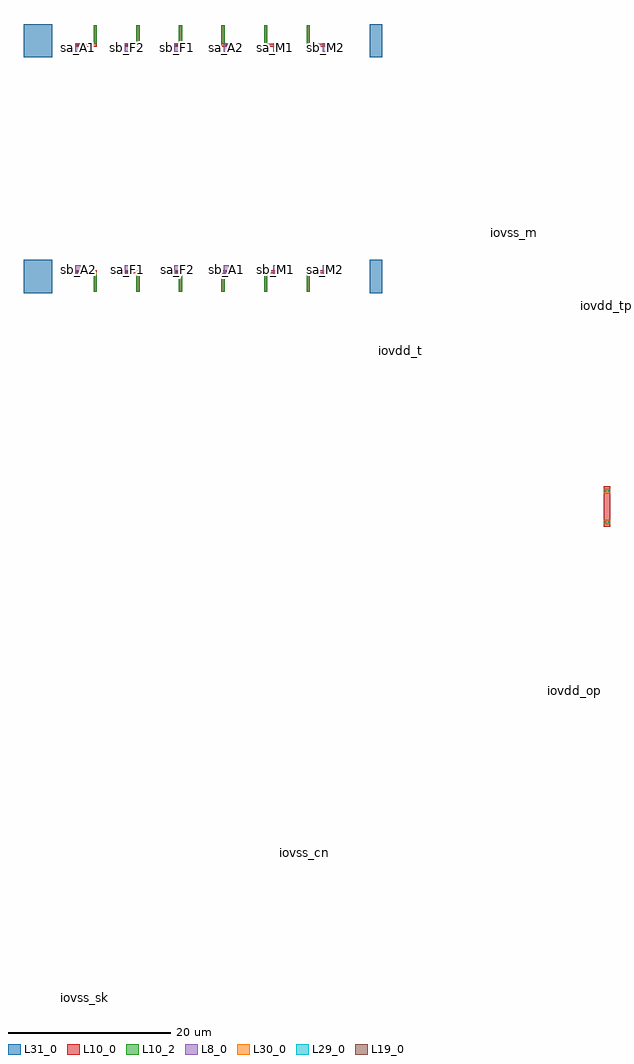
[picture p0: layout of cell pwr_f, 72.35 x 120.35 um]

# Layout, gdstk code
import gdstk
lib = gdstk.Library(unit=1e-6, precision=1e-09)
def R(c, l, rs):  # rectangles x0, y0, x1, y1
    for r in rs: c.add(gdstk.rectangle(r[:2], r[2:], *l))
def A(c, l, x, y, w, h, nx, ny, dx, dy):  # array of equal rectangles
    R(c, l, [(x+i*dx, y+j*dy, x+i*dx+w, y+j*dy+h) for i in range(nx) for j in range(ny)])
L8_0 = (8, 0)
L10_0 = (10, 0)
L10_2 = (10, 2)
L19_0 = (19, 0)
L29_0 = (29, 0)
L30_0 = (30, 0)
L31_0 = (31, 0)

pwr_f = lib.new_cell('pwr_f')
A(pwr_f, L8_0, 11.38, 121.4, 0.67, 1.05, 6, 2, 6.1, 27.39)
A(pwr_f, L10_0, 13.64, 119.2, 0.4, 2.66, 6, 2, 5.25, 30.18)
R(pwr_f, L10_0, [(12.1,31.85,12.9,32.45), (39.2,49.7,40,50.3), (72.55,69.7,73.35,70.3), (76.55,90.2,77.35,95.2), (51.1,111.7,51.9,112.3), (76.55,117.2,77.35,117.8), (11.515,121.47,14.04,121.86), (17.615,121.47,19.29,121.86), (23.715,121.47,24.54,121.86), (29.39,121.47,30.215,121.86), (34.64,121.47,36.315,121.86), (39.89,121.47,42.415,121.86), (65.1,126.2,65.9,126.8), (11.515,149.38,14.04,149.77), (17.615,149.38,19.29,149.77), (23.715,149.38,24.54,149.77), (29.39,149.38,30.215,149.77), (34.64,149.38,36.315,149.77), (39.89,149.38,42.415,149.77)])
A(pwr_f, L10_2, 13.64, 119.2, 0.4, 2.27, 6, 2, 5.25, 30.57)
R(pwr_f, L10_2, [(12.1,31.85,12.9,32.45), (39.2,49.7,40,50.3), (72.55,69.7,73.35,70.3), (51.1,111.7,51.9,112.3), (76.55,117.2,77.35,117.8), (65.1,126.2,65.9,126.8)])
A(pwr_f, L19_0, 11.62, 121.57, 0.19, 0.19, 6, 2, 6.1, 27.91)
R(pwr_f, L29_0, [(12.2,32.055,12.39,32.245), (12.61,32.055,12.8,32.245), (39.3,49.905,39.49,50.095), (39.71,49.905,39.9,50.095), (72.65,69.905,72.84,70.095), (73.06,69.905,73.25,70.095), (76.65,90.705,76.84,90.895), (77.06,90.705,77.25,90.895), (76.65,94.505,76.84,94.695), (77.06,94.505,77.25,94.695), (51.2,111.905,51.39,112.095), (51.61,111.905,51.8,112.095), (76.65,117.405,76.84,117.595), (77.06,117.405,77.25,117.595), (65.2,126.405,65.39,126.595), (65.61,126.405,65.8,126.595)])
R(pwr_f, L30_0, [(12.1,31.85,12.9,32.45), (39.2,49.7,40,50.3), (72.55,69.7,73.35,70.3), (76.55,90.5,77.35,91.1), (76.55,94.3,77.35,94.9), (51.1,111.7,51.9,112.3), (76.55,117.2,77.35,117.8), (65.1,126.2,65.9,126.8)])
R(pwr_f, L31_0, [(5,119,8.5,123.1), (47.7,119,49.2,123.1), (5,148.1,8.5,152.2), (47.7,148.1,49.2,152.2)])
pwr_f.add(gdstk.Label('sb_A2', (11.715,121.9), layer=8, texttype=25))
pwr_f.add(gdstk.Label('sa_A1', (11.715,149.34), layer=8, texttype=25))
pwr_f.add(gdstk.Label('sa_F1', (17.815,121.9), layer=8, texttype=25))
pwr_f.add(gdstk.Label('sb_F2', (17.815,149.34), layer=8, texttype=25))
pwr_f.add(gdstk.Label('sa_F2', (23.915,121.9), layer=8, texttype=25))
pwr_f.add(gdstk.Label('sb_F1', (23.915,149.34), layer=8, texttype=25))
pwr_f.add(gdstk.Label('sb_A1', (30.015,121.9), layer=8, texttype=25))
pwr_f.add(gdstk.Label('sa_A2', (30.015,149.34), layer=8, texttype=25))
pwr_f.add(gdstk.Label('sb_M1', (36.115,121.9), layer=8, texttype=25))
pwr_f.add(gdstk.Label('sa_M1', (36.115,149.34), layer=8, texttype=25))
pwr_f.add(gdstk.Label('sa_M2', (42.215,121.9), layer=8, texttype=25))
pwr_f.add(gdstk.Label('sb_M2', (42.215,149.34), layer=8, texttype=25))
pwr_f.add(gdstk.Label('iovss_sk', (12.5,32.15), layer=10, texttype=25))
pwr_f.add(gdstk.Label('iovss_cn', (39.6,50), layer=10, texttype=25))
pwr_f.add(gdstk.Label('iovdd_op', (72.95,70), layer=10, texttype=25))
pwr_f.add(gdstk.Label('iovdd_t', (51.5,112), layer=10, texttype=25))
pwr_f.add(gdstk.Label('iovss_m', (65.5,126.5), layer=10, texttype=25))
pwr_f.add(gdstk.Label('iovdd_tp', (76.95,117.5), layer=10, texttype=25))
pwr_f.add(gdstk.Label('sb_A2', (13.84,120.335), layer=10, texttype=25))
pwr_f.add(gdstk.Label('sa_A1', (13.84,150.905), layer=10, texttype=25))
pwr_f.add(gdstk.Label('sa_F1', (19.09,120.335), layer=10, texttype=25))
pwr_f.add(gdstk.Label('sb_F2', (19.09,150.905), layer=10, texttype=25))
pwr_f.add(gdstk.Label('sa_F2', (24.34,120.335), layer=10, texttype=25))
pwr_f.add(gdstk.Label('sb_F1', (24.34,150.905), layer=10, texttype=25))
pwr_f.add(gdstk.Label('sb_A1', (29.59,120.335), layer=10, texttype=25))
pwr_f.add(gdstk.Label('sa_A2', (29.59,150.905), layer=10, texttype=25))
pwr_f.add(gdstk.Label('sb_M1', (34.84,120.335), layer=10, texttype=25))
pwr_f.add(gdstk.Label('sa_M1', (34.84,150.905), layer=10, texttype=25))
pwr_f.add(gdstk.Label('sa_M2', (40.09,120.335), layer=10, texttype=25))
pwr_f.add(gdstk.Label('sb_M2', (40.09,150.905), layer=10, texttype=25))

lib.write_gds('pwr_f.gds')
